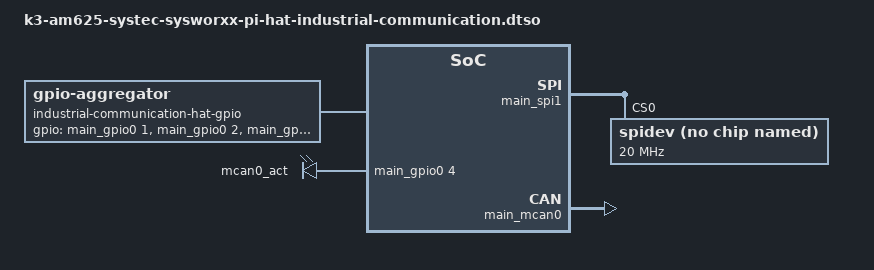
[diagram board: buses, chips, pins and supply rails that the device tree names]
// SPDX-License-Identifier: GPL-2.0

/**
 * Copyright (C) 2025 SYS TEC electronic AG
 *
 * sysWORXX Pi HAT - Industrial Communication
 */

/dts-v1/;
/plugin/;

#include <dt-bindings/gpio/gpio.h>
#include <dt-bindings/input/input.h>
#include "k3-pinctrl.h"

&main_pmx0 {
	industrial_communication_hat_gpio: industrial-communication-hat-gpio {
		pinctrl-single,pins = <
			// NETX_/DIRQ
			AM62X_IOPAD(0x0004, PIN_INPUT_PULLUP, 7) /* (G25) OSPI0_LBCLKO.GPIO0_1 */
			// NETX_/SIRQ
			AM62X_IOPAD(0x0004, PIN_INPUT_PULLUP, 7) /* (G25) OSPI0_LBCLKO.GPIO0_1 */
			// NETX_/RST
			AM62X_IOPAD(0x0008, PIN_OUTPUT, 7) /* (J24) OSPI0_DQS.GPIO0_2 */
			// MCAN0_LED
			AM62X_IOPAD(0x0010, PIN_OUTPUT, 7) /* (G24) OSPI0_D1.GPIO0_4 */
		>;
	};

	spi1_pins: spi1-pins {
		pinctrl-single,pins = <
			AM62X_IOPAD(0x0020, PIN_INPUT, 1) /* (J25) OSPI0_D5.SPI1_CLK */
			AM62X_IOPAD(0x0024, PIN_OUTPUT, 1) /* (H25) OSPI0_D6.SPI1_D0 */
			AM62X_IOPAD(0x0028, PIN_INPUT, 1) /* (J22) OSPI0_D7.SPI1_D1 */
			AM62X_IOPAD(0x001c, PIN_OUTPUT, 1) /* (J23) OSPI0_D4.SPI1_CS0 */
		>;
	};

	mcan0_pins: mcan0-pins {
		pinctrl-single,pins = <
			AM62X_IOPAD(0x01dc, PIN_INPUT_PULLUP, 0) /* (E15) MCAN0_RX */
			AM62X_IOPAD(0x01d8, PIN_OUTPUT, 0) /* (C15) MCAN0_TX */
		>;
	};
};

&{/} {
	industrial-communication-hat-gpio {
		pinctrl-names = "default";
		pinctrl-0 = <&industrial_communication_hat_gpio>;
		compatible = "gpio-aggregator";

		gpios = <&main_gpio0 1 GPIO_ACTIVE_HIGH>,
				<&main_gpio0 2 GPIO_ACTIVE_HIGH>,
				<&main_gpio0 3 GPIO_ACTIVE_HIGH>;
		gpio-line-names =   "NETX_/DIRQ",
							"NETX_/SIRQ",
							"NETX_/RST";
	};

	leds {
		compatible = "gpio-leds";

		mcan0_act {
				#gpio-cells = <2>;
				label = "mcan0_act";
				gpios = <&main_gpio0 4 GPIO_ACTIVE_HIGH>;
		};
	};
};

&main_spi1 {
	status = "okay";
	#address-cells = <1>;
	#size-cells = <0>;
	pinctrl-0 = <&spi1_pins>;
	pinctrl-names = "default";
	ti,pindir-d0-out-d1-in;

	spidev@0 {
		// Using spidev compatible is warned loudly,
		// thus use another equivalent compatible id
		// from spidev.
		compatible = "rohm,dh2228fv";
		spi-max-frequency = <20000000>;
		reg = <0>;
	};
};

&main_mcan0 {
	pinctrl-names = "default";
	pinctrl-0 = <&mcan0_pins>;
	status = "okay";
};
